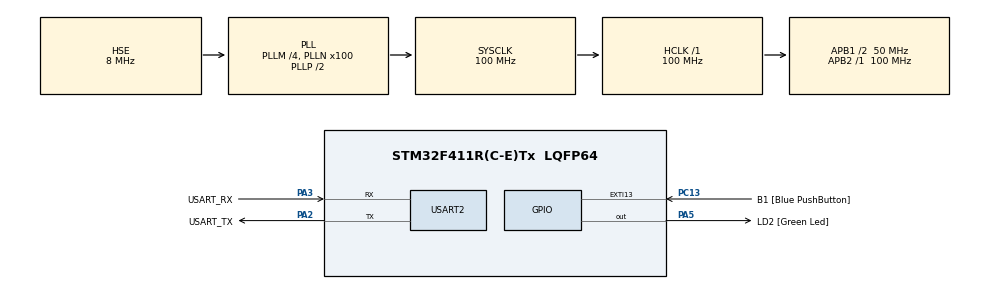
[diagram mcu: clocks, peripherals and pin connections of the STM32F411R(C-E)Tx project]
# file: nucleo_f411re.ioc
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Mcu.Family=STM32F4
Mcu.Name=STM32F411R(C-E)Tx
Mcu.Package=LQFP64
NVIC.PriorityGroup=NVIC_PRIORITYGROUP_0
NVIC.TIM1_TRG_COM_TIM11_IRQn=true\:0\:0\:false\:false\:true\:true\:true\:true
PA13.GPIO_Label=TMS
PA13.Mode=Serial_Wire
PA13.Signal=SYS_JTMS-SWDIO
PA14.GPIO_Label=TCK
PA14.Mode=Serial_Wire
PA14.Signal=SYS_JTCK-SWCLK
PA2.GPIO_Label=USART_TX
PA2.Mode=Asynchronous
PA2.Signal=USART2_TX
PA3.GPIO_Label=USART_RX
PA3.Mode=Asynchronous
PA3.Signal=USART2_RX
PA5.GPIO_Label=LD2 [Green Led]
PA5.Signal=GPIO_Output
PB3.GPIO_Label=SWO
PB3.Signal=SYS_JTDO-SWO
PC13-ANTI_TAMP.GPIO_Label=B1 [Blue PushButton]
PC13-ANTI_TAMP.GPIO_ModeDefaultEXTI=GPIO_MODE_IT_FALLING
PC13-ANTI_TAMP.Signal=GPXTI13
PC14-OSC32_IN.Mode=LSE-External-Oscillator
PC14-OSC32_IN.Signal=RCC_OSC32_IN
PC15-OSC32_OUT.Mode=LSE-External-Oscillator
PC15-OSC32_OUT.Signal=RCC_OSC32_OUT
PH0\ -\ OSC_IN.Mode=HSE-External-Clock-Source
PH0\ -\ OSC_IN.Signal=RCC_OSC_IN
PH1\ -\ OSC_OUT.Mode=HSE-External-Clock-Source
PH1\ -\ OSC_OUT.Signal=RCC_OSC_OUT
ProjectManager.HeapSize=0x200
ProjectManager.StackSize=0x400
ProjectManager.TargetToolchain=MDK-ARM V5.32
RCC.48MHZClocksFreq_Value=50000000
RCC.AHBFreq_Value=100000000
RCC.APB1CLKDivider=RCC_HCLK_DIV2
RCC.APB1Freq_Value=50000000
RCC.APB1TimFreq_Value=100000000
RCC.APB2Freq_Value=100000000
RCC.APB2TimFreq_Value=100000000
RCC.CortexFreq_Value=100000000
RCC.FLatency-AdvancedSettings=FLASH_LATENCY_3
RCC.HCLKFreq_Value=100000000
RCC.HSE_VALUE=8000000
RCC.HSI_VALUE=16000000
RCC.PLLM=4
RCC.PLLN=100
RCC.PLLSourceVirtual=RCC_PLLSOURCE_HSE
RCC.RCC_RTC_Clock_Source_FROM_HSE=RCC_RTCCLKSOURCE_HSE_DIV20
RCC.SYSCLKFreq_VALUE=100000000
RCC.SYSCLKSource=RCC_SYSCLKSOURCE_PLLCLK
RCC.VCOOutputFreq_Value=200000000
TIM11.AutoReloadPreload=TIM_AUTORELOAD_PRELOAD_DISABLE
TIM11.Period=65535
TIM11.Prescaler=49999
USART2.VirtualMode=VM_ASYNC
VP_TIM11_VS_ClockSourceINT.Mode=Enable_Timer
board=NUCLEO-F411RE

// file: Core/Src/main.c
/* USER CODE BEGIN Header */
/**
  ******************************************************************************
  * @file           : main.c
  * @brief          : Main program body
  ******************************************************************************
  * @attention
  *
  * Copyright (c) 2024 STMicroelectronics.
  * All rights reserved.
  *
  * This software is licensed under terms that can be found in the LICENSE file
  * in the root directory of this software component.
  * If no LICENSE file comes with this software, it is provided AS-IS.
  *
  ******************************************************************************
  */
/* USER CODE END Header */
#include "main.h"
#include "tim.h"
#include "usart.h"
#include "gpio.h"

/* USER CODE BEGIN Includes */
#include "k_kernel.h"
#include "app_event.h"
#include "blinky.h"
/* USER CODE END Includes */

void SystemClock_Config(void);
/* USER CODE BEGIN PFP */

static inline void LogUsart(const uint8_t *pdat, uint16_t len) {
	while (len--) {
		LL_USART_TransmitData8(USART2, *pdat++);
		while (LL_USART_IsActiveFlag_TXE(USART2) == RESET);
	}
}

void k_print(int level, const char *fmt, ...) {
    const char *level_str[] = {"[INFO] ", "[DEBUG] ", "[ERROR] "};
#define LOG_BUFFER_SIZE 256
    char buf[LOG_BUFFER_SIZE];

    LogUsart((uint8_t *)level_str[level], strlen(level_str[level]));
    va_list args;
    va_start(args, fmt);
    int cnt = vsnprintf(buf, LOG_BUFFER_SIZE, fmt, args);
    va_end(args);
    LogUsart((uint8_t *)buf, strlen(buf));
    LogUsart((uint8_t *)"\r\n", 2);
    return;
}

/* USER CODE END PFP */

int main(void)
{

  /* MCU Configuration--------------------------------------------------------*/

  /* Reset of all peripherals, Initializes the Flash interface and the Systick. */
  HAL_Init();

  /* Configure the system clock */
  SystemClock_Config();

  /* Initialize all configured peripherals */
  MX_GPIO_Init();
  MX_USART2_UART_Init();
  MX_TIM11_Init();
  /* USER CODE BEGIN 2 */

	LL_TIM_ClearFlag_UPDATE(TIM11);
	LL_TIM_EnableIT_UPDATE(TIM11);
	LL_TIM_EnableCounter(TIM11);

//	app_event_test();
	Blinky_test();

  /* USER CODE END 2 */

  /* Infinite loop */
  while (1)
  {

  }
}

void SystemClock_Config(void)
{
  RCC_OscInitTypeDef RCC_OscInitStruct = {0};
  RCC_ClkInitTypeDef RCC_ClkInitStruct = {0};

  /** Configure the main internal regulator output voltage
  */
  __HAL_RCC_PWR_CLK_ENABLE();
  __HAL_PWR_VOLTAGESCALING_CONFIG(PWR_REGULATOR_VOLTAGE_SCALE1);

  /** Initializes the RCC Oscillators according to the specified parameters
  * in the RCC_OscInitTypeDef structure.
  */
  RCC_OscInitStruct.OscillatorType = RCC_OSCILLATORTYPE_HSE;
  RCC_OscInitStruct.HSEState = RCC_HSE_BYPASS;
  RCC_OscInitStruct.PLL.PLLState = RCC_PLL_ON;
  RCC_OscInitStruct.PLL.PLLSource = RCC_PLLSOURCE_HSE;
  RCC_OscInitStruct.PLL.PLLM = 4;
  RCC_OscInitStruct.PLL.PLLN = 100;
  RCC_OscInitStruct.PLL.PLLP = RCC_PLLP_DIV2;
  RCC_OscInitStruct.PLL.PLLQ = 4;
  if (HAL_RCC_OscConfig(&RCC_OscInitStruct) != HAL_OK)
  {
    Error_Handler();
  }

  /** Initializes the CPU, AHB and APB buses clocks
  */
  RCC_ClkInitStruct.ClockType = RCC_CLOCKTYPE_HCLK|RCC_CLOCKTYPE_SYSCLK
                              |RCC_CLOCKTYPE_PCLK1|RCC_CLOCKTYPE_PCLK2;
  RCC_ClkInitStruct.SYSCLKSource = RCC_SYSCLKSOURCE_PLLCLK;
  RCC_ClkInitStruct.AHBCLKDivider = RCC_SYSCLK_DIV1;
  RCC_ClkInitStruct.APB1CLKDivider = RCC_HCLK_DIV2;
  RCC_ClkInitStruct.APB2CLKDivider = RCC_HCLK_DIV1;

  if (HAL_RCC_ClockConfig(&RCC_ClkInitStruct, FLASH_LATENCY_3) != HAL_OK)
  {
    Error_Handler();
  }
}

void Error_Handler(void)
{
  __disable_irq();
  while (1)
  {
  }
}
